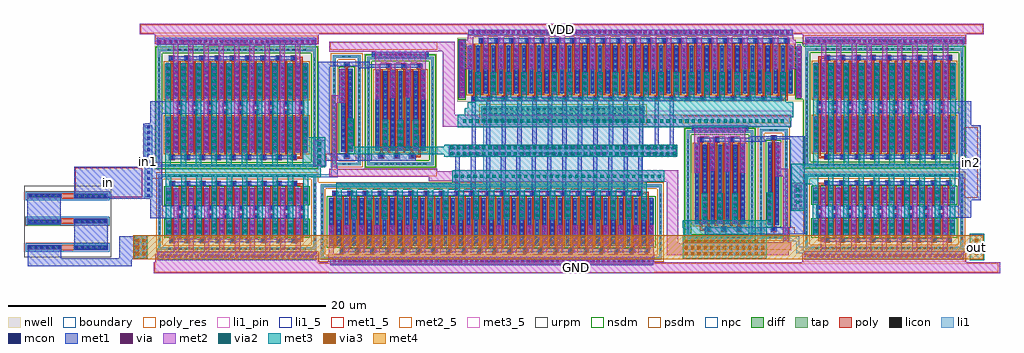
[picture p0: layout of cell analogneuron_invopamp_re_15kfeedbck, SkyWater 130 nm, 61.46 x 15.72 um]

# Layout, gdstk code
from math import pi, radians
import gdstk
lib = gdstk.Library(unit=1e-6, precision=1e-09)
def R(c, l, rs):  # rectangles x0, y0, x1, y1
    for r in rs: c.add(gdstk.rectangle(r[:2], r[2:], *l))
def A(c, l, x, y, w, h, nx, ny, dx, dy):  # array of equal rectangles
    R(c, l, [(x+i*dx, y+j*dy, x+i*dx+w, y+j*dy+h) for i in range(nx) for j in range(ny)])
nwell = (64, 20)
diff = (65, 20)
tap = (65, 44)
poly_res = (66, 13)
poly = (66, 20)
licon = (66, 44)
li1_5 = (67, 5)
li1_pin = (67, 16)
li1 = (67, 20)
mcon = (67, 44)
met1_5 = (68, 5)
met1 = (68, 20)
via = (68, 44)
met2_5 = (69, 5)
met2 = (69, 20)
via2 = (69, 44)
met3_5 = (70, 5)
met3 = (70, 20)
via3 = (70, 44)
met4 = (71, 20)
urpm = (79, 20)
nsdm = (93, 44)
psdm = (94, 20)
npc = (95, 20)
boundary = (235, 4)

sky130_fd_pr__pfet_01v8_ = lib.new_cell('sky130_fd_pr__pfet_01v8_CC7KEW')
R(sky130_fd_pr__pfet_01v8_, nwell, [(-10.405,-2,9.925,-1.81), (-10.405,-1.81,10.405,1.81), (-9.925,1.81,10.405,2)])
R(sky130_fd_pr__pfet_01v8_, diff, [(-10.225,-1.5,10.225,1.5)])
A(sky130_fd_pr__pfet_01v8_, poly, -10.005, -1.985, 0.33, 0.33, 21, 1, 0.96, 0)
A(sky130_fd_pr__pfet_01v8_, poly, -9.915, -1.655, 0.15, 3.285, 21, 1, 0.96, 0)
A(sky130_fd_pr__pfet_01v8_, poly, -9.435, -1.63, 0.15, 3.285, 21, 1, 0.96, 0)
A(sky130_fd_pr__pfet_01v8_, poly, -9.525, 1.655, 0.33, 0.33, 21, 1, 0.96, 0)
A(sky130_fd_pr__pfet_01v8_, licon, -9.925, -1.905, 0.17, 0.17, 21, 1, 0.96, 0)
A(sky130_fd_pr__pfet_01v8_, licon, -10.165, -1.275, 0.17, 0.17, 43, 8, 0.48, 0.34)
A(sky130_fd_pr__pfet_01v8_, licon, -9.445, 1.735, 0.17, 0.17, 21, 1, 0.96, 0)
A(sky130_fd_pr__pfet_01v8_, li1, -10.005, -1.905, 0.33, 0.17, 21, 1, 0.96, 0)
A(sky130_fd_pr__pfet_01v8_, li1, -10.165, -1.52, 0.17, 3.04, 43, 1, 0.48, 0)
A(sky130_fd_pr__pfet_01v8_, li1, -9.525, 1.735, 0.33, 0.17, 21, 1, 0.96, 0)
A(sky130_fd_pr__pfet_01v8_, mcon, -9.925, -1.905, 0.17, 0.17, 21, 1, 0.96, 0)
A(sky130_fd_pr__pfet_01v8_, mcon, -10.165, -1.345, 0.17, 0.17, 43, 8, 0.48, 0.36)
A(sky130_fd_pr__pfet_01v8_, mcon, -9.445, 1.735, 0.17, 0.17, 21, 1, 0.96, 0)
A(sky130_fd_pr__pfet_01v8_, met1, -9.985, -1.935, 0.29, 0.23, 21, 1, 0.96, 0)
A(sky130_fd_pr__pfet_01v8_, met1, -10.195, -1.5, 0.23, 3, 43, 1, 0.48, 0)
A(sky130_fd_pr__pfet_01v8_, met1, -9.505, 1.705, 0.29, 0.23, 21, 1, 0.96, 0)
R(sky130_fd_pr__pfet_01v8_, psdm, [(-10.35,-1.625,10.35,1.625)])
A(sky130_fd_pr__pfet_01v8_, npc, -10.025, -2.005, 0.37, 0.37, 21, 1, 0.96, 0)
A(sky130_fd_pr__pfet_01v8_, npc, -9.545, 1.635, 0.37, 0.37, 21, 1, 0.96, 0)

biaspmos = lib.new_cell('biaspmos')
R(biaspmos, nwell, [(-0.26,-7.21,1.74,-7.19), (-0.26,-7.19,21.57,-3.2), (-0.12,-3.2,21.57,-3.18)])
R(biaspmos, tap, [(1.26,-8.53,11.55,-7.51), (-0.08,-6.95,0.16,-3.41), (21.15,-6.93,21.39,-3.76), (21.15,-3.76,21.38,-3.58)])
R(biaspmos, poly, [(20.135,-7.115,20.57,-6.965), (20.42,-6.965,20.57,-6.705)])
A(biaspmos, licon, 1.39, -8.445, 0.17, 0.17, 30, 3, 0.34, 0.34)
A(biaspmos, licon, -0.05, -6.795, 0.17, 0.17, 1, 10, 0, 0.34)
A(biaspmos, licon, 21.18, -6.73, 0.17, 0.17, 1, 9, 0, 0.34)
R(biaspmos, li1_pin, [(1.38,-8.53,11.43,-7.51)])
R(biaspmos, li1, [(1.3,-8.53,11.51,-7.51), (-0.08,-6.95,0.16,-6.94), (-0.1,-6.94,0.18,-3.4), (21.15,-6.93,21.39,-3.76), (21.15,-3.76,21.38,-3.58), (0.44,-3,20.83,-2.69)])
A(biaspmos, mcon, -0.045, -6.875, 0.17, 0.17, 1, 10, 0, 0.36)
A(biaspmos, mcon, 21.185, -6.87, 0.17, 0.17, 1, 9, 0, 0.36)
A(biaspmos, mcon, 0.655, -2.925, 0.17, 0.17, 56, 1, 0.36, 0)
R(biaspmos, met1_5, [(0.67,-7.15,20.17,-6.89)])
A(biaspmos, met1, 0.9, -6.75, 0.32, 1.35, 21, 1, 0.96, 0)
A(biaspmos, met1, 0.41, -5.16, 0.34, 1.45, 22, 1, 0.96, 0)
R(biaspmos, met1, [(0.66,-7.16,20.18,-6.89), (-0.13,-7,0.21,-6.94), (21.12,-6.99,21.42,-6.94), (-0.15,-6.94,0.23,-3.4), (21.08,-6.94,21.45,-3.73), (1.13,-3.53,20.65,-3.52), (1.13,-3.52,20.66,-3.25), (-0.13,-3.4,0.21,-3.34), (1.13,-3.25,20.65,-3.21), (0.42,-3.02,20.86,-2.69)])
A(biaspmos, via, 21.19, -6.865, 0.15, 0.15, 1, 10, 0, 0.32)
A(biaspmos, via, -0.035, -6.845, 0.15, 0.15, 1, 11, 0, 0.32)
A(biaspmos, via, 0.985, -6.61, 0.15, 0.15, 21, 4, 0.96, 0.32)
A(biaspmos, via, 0.505, -4.99, 0.15, 0.15, 22, 4, 0.96, 0.32)
A(biaspmos, via, 0.645, -2.905, 0.15, 0.15, 63, 1, 0.32, 0)
R(biaspmos, met2_5, [(0.45,-3.06,20.87,-2.62)])
A(biaspmos, met2, 0.9, -6.75, 0.32, 1.4, 21, 1, 0.96, 0)
A(biaspmos, met2, 1.37, -5.16, 0.34, 2.05, 20, 1, 0.96, 0)
R(biaspmos, met2, [(-0.1,-6.99,0.18,-5.15), (21.13,-6.99,21.4,-5.15), (0.41,-5.16,0.75,-5.15), (20.57,-5.16,20.91,-5.15), (-0.1,-5.15,0.75,-3.66), (20.57,-5.15,21.4,-3.73), (20.57,-3.73,21.07,-3.32), (-0.11,-3.66,0.75,-3.32), (0.41,-3.32,0.75,-3.11), (20.57,-3.32,20.91,-3.11), (0.41,-3.11,20.91,-2.58)])
A(biaspmos, via2, 0.96, -6.55, 0.2, 0.2, 21, 3, 0.96, 0.4)
R(biaspmos, met3_5, [(0.41,-8.18,20.88,-7.79)])
A(biaspmos, met3, 0.89, -6.98, 0.34, 1.63, 9, 1, 0.96, 0)
A(biaspmos, met3, 11.45, -6.98, 0.34, 1.63, 3, 1, 1.92, 0)
A(biaspmos, met3, 16.25, -6.98, 0.34, 1.63, 5, 1, 0.96, 0)
R(biaspmos, met3, [(0.39,-8.2,20.9,-7.25), (0.89,-7.25,20.44,-6.98), (9.53,-6.98,9.87,-5.36), (10.49,-6.98,10.83,-5.35), (12.41,-6.98,12.75,-5.36), (14.33,-6.98,14.67,-5.36)])
R(biaspmos, nsdm, [(-0.205,-7.075,0.285,-3.285), (21.025,-7.055,21.515,-3.635), (21.025,-3.635,21.505,-3.455)])
R(biaspmos, psdm, [(1.135,-8.655,11.675,-7.385)])
biaspmos.add(gdstk.Reference(sky130_fd_pr__pfet_01v8_, (10.655,-5.19)))
biaspmos.add(gdstk.Label('GND', (6.405,-8.02), layer=67, texttype=16))
biaspmos.add(gdstk.Label('vh', (10.645,-7.985), layer=70, texttype=5))
biaspmos.add(gdstk.Label('gate', (10.42,-7.02), layer=68, texttype=5))
biaspmos.add(gdstk.Label('VDD', (10.66,-2.84), layer=69, texttype=5))

c_sky130_fd_pr__pfet_01v8_ = lib.new_cell('sky130_fd_pr__pfet_01v8_27F7GK')
R(c_sky130_fd_pr__pfet_01v8_, nwell, [(-2.275,-3.595,2.275,3.595)])
R(c_sky130_fd_pr__pfet_01v8_, diff, [(-1.585,-2.5,1.585,2.5)])
R(c_sky130_fd_pr__pfet_01v8_, tap, [(-2.095,-3.415,2.095,-3.245), (-2.095,-3.245,-1.925,3.245), (1.925,-3.245,2.095,3.245), (-2.095,3.245,2.095,3.415)])
A(c_sky130_fd_pr__pfet_01v8_, poly, -1.365, -2.985, 0.33, 0.33, 3, 1, 0.96, 0)
A(c_sky130_fd_pr__pfet_01v8_, poly, -1.275, -2.655, 0.15, 5.285, 3, 1, 0.96, 0)
A(c_sky130_fd_pr__pfet_01v8_, poly, -0.795, -2.63, 0.15, 5.285, 3, 1, 0.96, 0)
A(c_sky130_fd_pr__pfet_01v8_, poly, -0.885, 2.655, 0.33, 0.33, 3, 1, 0.96, 0)
A(c_sky130_fd_pr__pfet_01v8_, licon, -1.615, -3.415, 0.17, 0.17, 10, 2, 0.34, 6.66)
A(c_sky130_fd_pr__pfet_01v8_, licon, -1.285, -2.905, 0.17, 0.17, 3, 1, 0.96, 0)
A(c_sky130_fd_pr__pfet_01v8_, licon, -2.095, -2.805, 0.17, 0.17, 1, 17, 0, 0.34)
A(c_sky130_fd_pr__pfet_01v8_, licon, 1.925, -2.805, 0.17, 0.17, 1, 17, 0, 0.34)
A(c_sky130_fd_pr__pfet_01v8_, licon, -1.525, -2.295, 0.17, 0.17, 7, 14, 0.48, 0.34)
A(c_sky130_fd_pr__pfet_01v8_, licon, -0.805, 2.735, 0.17, 0.17, 3, 1, 0.96, 0)
A(c_sky130_fd_pr__pfet_01v8_, li1, -1.365, -2.905, 0.33, 0.17, 3, 1, 0.96, 0)
A(c_sky130_fd_pr__pfet_01v8_, li1, -1.525, -2.52, 0.17, 5.04, 7, 1, 0.48, 0)
A(c_sky130_fd_pr__pfet_01v8_, li1, -0.885, 2.735, 0.33, 0.17, 3, 1, 0.96, 0)
R(c_sky130_fd_pr__pfet_01v8_, li1, [(-2.095,-3.415,2.095,-3.245), (-2.095,-3.245,-1.925,3.245), (1.925,-3.245,2.095,3.245), (-2.095,3.245,2.095,3.415)])
A(c_sky130_fd_pr__pfet_01v8_, mcon, -1.285, -2.905, 0.17, 0.17, 3, 1, 0.96, 0)
A(c_sky130_fd_pr__pfet_01v8_, mcon, -1.525, -2.425, 0.17, 0.17, 7, 14, 0.48, 0.36)
A(c_sky130_fd_pr__pfet_01v8_, mcon, -0.805, 2.735, 0.17, 0.17, 3, 1, 0.96, 0)
A(c_sky130_fd_pr__pfet_01v8_, met1, -1.345, -2.935, 0.29, 0.23, 3, 1, 0.96, 0)
A(c_sky130_fd_pr__pfet_01v8_, met1, -1.555, -2.5, 0.23, 5, 7, 1, 0.48, 0)
A(c_sky130_fd_pr__pfet_01v8_, met1, -0.865, 2.705, 0.29, 0.23, 3, 1, 0.96, 0)
R(c_sky130_fd_pr__pfet_01v8_, nsdm, [(-2.22,-3.54,2.22,-3.12), (-2.22,-3.12,-1.8,3.12), (1.8,-3.12,2.22,3.12), (-2.22,3.12,2.22,3.54)])
R(c_sky130_fd_pr__pfet_01v8_, psdm, [(-1.71,-2.625,1.71,2.625)])
A(c_sky130_fd_pr__pfet_01v8_, npc, -1.385, -3.005, 0.37, 0.37, 3, 1, 0.96, 0)
A(c_sky130_fd_pr__pfet_01v8_, npc, -0.905, 2.635, 0.37, 0.37, 3, 1, 0.96, 0)
R(c_sky130_fd_pr__pfet_01v8_, boundary, [(-2.01,-3.33,2.01,3.33)])

sky130_fd_pr__nfet_01v8_ = lib.new_cell('sky130_fd_pr__nfet_01v8_LW2HKK')
R(sky130_fd_pr__nfet_01v8_, diff, [(-0.365,-2.6,0.365,2.6)])
R(sky130_fd_pr__nfet_01v8_, tap, [(-0.875,-3.47,0.875,-3.3), (-0.875,-3.3,-0.705,3.3), (0.705,-3.3,0.875,3.3), (-0.875,3.3,0.875,3.47)])
R(sky130_fd_pr__nfet_01v8_, poly, [(-0.165,-3.04,0.165,-2.71), (-0.075,-2.71,0.075,2.71), (-0.165,2.71,0.165,3.04)])
A(sky130_fd_pr__nfet_01v8_, licon, -0.875, -2.975, 0.17, 0.17, 1, 18, 0, 0.34)
A(sky130_fd_pr__nfet_01v8_, licon, 0.705, -2.975, 0.17, 0.17, 1, 18, 0, 0.34)
A(sky130_fd_pr__nfet_01v8_, licon, -0.305, -2.465, 0.17, 0.17, 1, 15, 0, 0.34)
A(sky130_fd_pr__nfet_01v8_, licon, 0.135, -2.465, 0.17, 0.17, 1, 15, 0, 0.34)
R(sky130_fd_pr__nfet_01v8_, licon, [(-0.255,-3.47,-0.085,-3.3), (0.085,-3.47,0.255,-3.3), (-0.085,-2.96,0.085,-2.79), (-0.085,2.79,0.085,2.96), (-0.255,3.3,-0.085,3.47), (0.085,3.3,0.255,3.47)])
R(sky130_fd_pr__nfet_01v8_, li1, [(-0.875,-3.47,0.875,-3.3), (-0.875,-3.3,-0.705,3.3), (0.705,-3.3,0.875,3.3), (-0.165,-2.96,0.165,-2.79), (-0.305,-2.62,-0.135,2.62), (0.135,-2.62,0.305,2.62), (-0.165,2.79,0.165,2.96), (-0.875,3.3,0.875,3.47)])
A(sky130_fd_pr__nfet_01v8_, mcon, -0.305, -2.425, 0.17, 0.17, 1, 14, 0, 0.36)
A(sky130_fd_pr__nfet_01v8_, mcon, 0.135, -2.425, 0.17, 0.17, 1, 14, 0, 0.36)
R(sky130_fd_pr__nfet_01v8_, mcon, [(-0.085,-2.96,0.085,-2.79), (-0.085,2.79,0.085,2.96)])
R(sky130_fd_pr__nfet_01v8_, met1, [(-0.145,-2.99,0.145,-2.76), (-0.335,-2.6,-0.105,2.6), (0.105,-2.6,0.335,2.6), (-0.145,2.76,0.145,2.99)])
R(sky130_fd_pr__nfet_01v8_, nsdm, [(-0.49,-2.725,0.49,2.725)])
R(sky130_fd_pr__nfet_01v8_, psdm, [(-1,-3.595,1,-3.175), (-1,-3.175,-0.58,3.175), (0.58,-3.175,1,3.175), (-1,3.175,1,3.595)])
R(sky130_fd_pr__nfet_01v8_, npc, [(-0.185,-3.06,0.185,-2.69), (-0.185,2.69,0.185,3.06)])
R(sky130_fd_pr__nfet_01v8_, boundary, [(-0.79,-3.385,0.79,3.385)])

stage2_inv = lib.new_cell('Stage2_inv')
R(stage2_inv, nwell, [(2.82,0.48,5.15,0.74), (5.31,0.71,5.46,0.79), (3.39,0.74,3.54,0.79), (4.35,0.74,4.5,0.79), (3.02,1.46,3.42,1.66), (3.06,1.66,3.42,2.83), (3.55,5.57,3.87,6.04), (4.51,5.58,4.83,6.04), (2.59,5.59,2.91,6.04), (5.47,5.6,5.79,6.35), (2.59,6.04,2.98,6.11), (3.55,6.04,3.93,6.09), (4.51,6.04,4.9,6.1), (3.55,6.09,4.02,6.24), (4.51,6.1,4.98,6.24), (2.59,6.11,3.06,6.24), (2.59,6.24,2.91,6.34), (3.55,6.24,3.87,6.32), (4.51,6.24,4.83,6.33)])
R(stage2_inv, poly, [(4.985,0.375,5.46,0.505), (5.045,0.505,5.46,0.525), (5.31,0.525,5.46,0.755)])
R(stage2_inv, li1_5, [(-0.16,-0.2,0.2,0.02)])
R(stage2_inv, li1, [(-0.19,-0.23,0.23,0.05), (2.39,6.68,5.97,7.04)])
A(stage2_inv, mcon, 2.49, 6.77, 0.17, 0.17, 10, 1, 0.36, 0)
R(stage2_inv, met1_5, [(-0.51,0.16,-0.14,0.6)])
R(stage2_inv, met1, [(-0.51,0.16,5.15,0.6), (2.82,0.6,5.15,0.61), (0.87,0.79,1.2,2.78), (3.07,0.82,3.4,2.7), (4.03,0.82,4.36,2.7), (4.99,0.82,5.32,2.69), (0.34,3.84,0.71,5.92), (5.47,4.03,5.79,5.87), (2.59,4.04,2.91,5.87), (3.55,4.14,3.87,5.87), (4.51,4.17,4.83,5.87), (3.28,6.01,5.6,6.25), (0.64,6.11,0.95,6.38), (2.41,6.68,5.94,7.02)])
A(stage2_inv, via, 0.955, 0.925, 0.15, 0.15, 1, 6, 0, 0.32)
A(stage2_inv, via, 5.075, 1.055, 0.15, 0.15, 1, 5, 0, 0.32)
A(stage2_inv, via, 3.155, 1.06, 0.15, 0.15, 1, 5, 0, 0.32)
A(stage2_inv, via, 4.115, 1.06, 0.15, 0.15, 1, 5, 0, 0.32)
A(stage2_inv, via, 0.435, 3.985, 0.15, 0.15, 1, 6, 0, 0.32)
A(stage2_inv, via, 5.555, 4.215, 0.15, 0.15, 1, 5, 0, 0.32)
A(stage2_inv, via, 2.675, 4.22, 0.15, 0.15, 1, 5, 0, 0.32)
A(stage2_inv, via, 3.635, 4.27, 0.15, 0.15, 1, 5, 0, 0.32)
A(stage2_inv, via, 4.595, 4.285, 0.15, 0.15, 1, 5, 0, 0.32)
A(stage2_inv, via, 2.83, 6.78, 0.15, 0.15, 9, 1, 0.32, 0)
R(stage2_inv, met2_5, [(-0.27,-0.82,6.47,-0.36), (-0.22,7.15,6.51,7.62)])
R(stage2_inv, met2, [(-0.29,-0.85,6.5,-0.33), (-0.125,-0.33,0.185,3.815), (0.87,0.79,1.2,2.83), (3.06,0.8,3.4,2.7), (4.02,0.8,4.36,2.75), (4.98,0.8,5.32,2.75), (3.07,2.7,3.4,2.75), (-0.125,3.815,0.705,3.84), (-0.125,3.84,0.71,4.295), (5.47,4.03,5.79,6.31), (2.59,4.04,2.91,6.31), (3.55,4.14,3.87,6.31), (4.51,4.17,4.83,6.31), (0.34,4.295,0.71,5.92), (2.59,6.31,5.79,7.13), (-0.25,7.13,6.54,7.65)])
A(stage2_inv, via2, 0.94, 0.92, 0.2, 0.2, 1, 5, 0, 0.4)
A(stage2_inv, via2, 5.05, 1.08, 0.2, 0.2, 1, 4, 0, 0.4)
A(stage2_inv, via2, 3.13, 1.085, 0.2, 0.2, 1, 4, 0, 0.4)
A(stage2_inv, via2, 4.09, 1.085, 0.2, 0.2, 1, 4, 0, 0.4)
R(stage2_inv, met3_5, [(6.04,0.61,6.52,1.04)])
R(stage2_inv, met3, [(0.87,0.58,6.46,0.59), (0.87,0.59,6.54,1.06), (0.87,1.06,1.25,1.52), (3.06,1.06,3.41,1.53), (4.02,1.06,4.36,1.53), (4.97,1.06,5.34,1.75), (0.86,1.52,1.25,2.78), (3.06,1.53,3.42,2.7), (4.01,1.53,4.36,2.7), (4.97,1.75,5.32,2.69), (4.98,2.69,5.32,2.75), (3.06,2.7,3.41,2.75), (4.02,2.7,4.36,2.75), (0.87,2.78,1.21,2.83)])
stage2_inv.add(gdstk.Reference(c_sky130_fd_pr__pfet_01v8_, (4.185,3.305)))
stage2_inv.add(gdstk.Reference(sky130_fd_pr__nfet_01v8_, (0.805,3.35)))
stage2_inv.add(gdstk.Label('in', (-0.325,0.38), layer=68, texttype=5))
stage2_inv.add(gdstk.Label('vh', (3.145,7.385), layer=69, texttype=5))
stage2_inv.add(gdstk.Label('vl', (3.1,-0.59), layer=69, texttype=5))
stage2_inv.add(gdstk.Label('nbody', (0.02,-0.09), layer=67, texttype=5))
stage2_inv.add(gdstk.Label('out', (6.28,0.825), layer=70, texttype=5))

c_sky130_fd_pr__nfet_01v8_ = lib.new_cell('sky130_fd_pr__nfet_01v8_4PXCG5')
R(c_sky130_fd_pr__nfet_01v8_, diff, [(-10.225,-1.5,10.225,1.5)])
R(c_sky130_fd_pr__nfet_01v8_, tap, [(-10.735,-2.37,10.735,-2.2), (-10.735,-2.2,-10.565,2.2), (10.565,-2.2,10.735,2.2), (-10.735,2.2,10.735,2.37)])
A(c_sky130_fd_pr__nfet_01v8_, poly, -10.005, -1.94, 0.33, 0.33, 21, 1, 0.96, 0)
A(c_sky130_fd_pr__nfet_01v8_, poly, -9.435, -1.63, 0.15, 3.24, 21, 1, 0.96, 0)
A(c_sky130_fd_pr__nfet_01v8_, poly, -9.915, -1.61, 0.15, 3.24, 21, 1, 0.96, 0)
A(c_sky130_fd_pr__nfet_01v8_, poly, -9.525, 1.61, 0.33, 0.33, 21, 1, 0.96, 0)
A(c_sky130_fd_pr__nfet_01v8_, licon, -9.925, -1.86, 0.17, 0.17, 21, 1, 0.96, 0)
A(c_sky130_fd_pr__nfet_01v8_, licon, -10.735, -1.785, 0.17, 0.17, 1, 11, 0, 0.34)
A(c_sky130_fd_pr__nfet_01v8_, licon, 10.565, -1.785, 0.17, 0.17, 1, 11, 0, 0.34)
A(c_sky130_fd_pr__nfet_01v8_, licon, -10.165, -1.275, 0.17, 0.17, 43, 8, 0.48, 0.34)
A(c_sky130_fd_pr__nfet_01v8_, licon, -9.445, 1.69, 0.17, 0.17, 21, 1, 0.96, 0)
A(c_sky130_fd_pr__nfet_01v8_, li1, -10.005, -1.86, 0.33, 0.17, 21, 1, 0.96, 0)
A(c_sky130_fd_pr__nfet_01v8_, li1, -10.165, -1.52, 0.17, 3.04, 43, 1, 0.48, 0)
A(c_sky130_fd_pr__nfet_01v8_, li1, -9.525, 1.69, 0.33, 0.17, 21, 1, 0.96, 0)
R(c_sky130_fd_pr__nfet_01v8_, li1, [(-10.735,-2.37,10.735,-2.2), (-10.735,-2.2,-10.565,2.2), (10.565,-2.2,10.735,2.2), (-10.735,2.2,10.735,2.37)])
A(c_sky130_fd_pr__nfet_01v8_, mcon, -9.925, -1.86, 0.17, 0.17, 21, 1, 0.96, 0)
A(c_sky130_fd_pr__nfet_01v8_, mcon, -10.165, -1.345, 0.17, 0.17, 43, 8, 0.48, 0.36)
A(c_sky130_fd_pr__nfet_01v8_, mcon, -9.445, 1.69, 0.17, 0.17, 21, 1, 0.96, 0)
A(c_sky130_fd_pr__nfet_01v8_, met1, -9.985, -1.89, 0.29, 0.23, 21, 1, 0.96, 0)
A(c_sky130_fd_pr__nfet_01v8_, met1, -10.195, -1.5, 0.23, 3, 43, 1, 0.48, 0)
A(c_sky130_fd_pr__nfet_01v8_, met1, -9.505, 1.66, 0.29, 0.23, 21, 1, 0.96, 0)
R(c_sky130_fd_pr__nfet_01v8_, nsdm, [(-10.35,-1.625,10.35,1.625)])
R(c_sky130_fd_pr__nfet_01v8_, psdm, [(-10.86,-2.495,10.86,-2.075), (-10.86,-2.075,-10.44,2.075), (10.44,-2.075,10.86,2.075), (-10.86,2.075,10.86,2.495)])
A(c_sky130_fd_pr__nfet_01v8_, npc, -10.025, -1.96, 0.37, 0.37, 21, 1, 0.96, 0)
A(c_sky130_fd_pr__nfet_01v8_, npc, -9.545, 1.59, 0.37, 0.37, 21, 1, 0.96, 0)
R(c_sky130_fd_pr__nfet_01v8_, boundary, [(-10.65,-2.285,10.65,2.285)])

biasnmos = lib.new_cell('biasnmos')
R(biasnmos, poly, [(20.15,3.115,20.3,3.355), (19.835,3.355,20.3,3.375), (19.815,3.375,20.3,3.505)])
R(biasnmos, li1, [(0.25,-1.08,20.57,-0.59)])
A(biasnmos, mcon, 0.425, -0.92, 0.17, 0.17, 56, 1, 0.36, 0)
R(biasnmos, met1_5, [(0.4,3.28,19.88,3.52)])
A(biasnmos, met1, 0.15, 0.12, 0.32, 1.3, 22, 1, 0.96, 0)
A(biasnmos, met1, 0.63, 1.82, 0.32, 1.28, 21, 1, 0.96, 0)
A(biasnmos, met1, 0.63, 3.1, 0.31, 0.01, 21, 1, 0.96, 0)
R(biasnmos, met1, [(0.25,-1.1,20.57,-0.58), (0.86,-0.3,20.38,-0.04), (0.38,3.27,19.9,3.53)])
A(biasnmos, via, 0.42, -0.915, 0.15, 0.15, 63, 1, 0.32, 0)
A(biasnmos, via, 0.235, 0.23, 0.15, 0.15, 22, 4, 0.96, 0.32)
A(biasnmos, via, 0.715, 1.89, 0.15, 0.15, 21, 4, 0.96, 0.32)
R(biasnmos, met2_5, [(0.14,-1.59,20.62,-1.03)])
A(biasnmos, met2, 0.15, -0.38, 0.32, 1.8, 22, 1, 0.96, 0)
A(biasnmos, met2, 0.63, 1.77, 0.32, 1.33, 21, 1, 0.96, 0)
A(biasnmos, met2, 0.63, 3.1, 0.31, 0.01, 21, 1, 0.96, 0)
R(biasnmos, met2, [(0.12,-1.6,20.64,-1.42), (0.12,-1.42,20.65,-0.38)])
A(biasnmos, via2, 0.69, 1.94, 0.2, 0.2, 21, 3, 0.96, 0.4)
R(biasnmos, met3_5, [(0.62,3.74,20.12,4.05)])
A(biasnmos, met3, 0.62, 1.77, 0.34, 1.87, 21, 1, 0.96, 0)
R(biasnmos, met3, [(0.62,3.64,20.16,4.07)])
biasnmos.add(gdstk.Reference(c_sky130_fd_pr__nfet_01v8_, (10.385,1.615), x_reflection=True))
biasnmos.add(gdstk.Label('GND', (10.38,-1.31), layer=69, texttype=5))
biasnmos.add(gdstk.Label('gate', (10.14,3.4), layer=68, texttype=5))
biasnmos.add(gdstk.Label('vl', (10.37,3.895), layer=70, texttype=5))

c_sky130_fd_pr__nfet_01v8__ = lib.new_cell('sky130_fd_pr__nfet_01v8_BBTBMZ')
R(c_sky130_fd_pr__nfet_01v8__, diff, [(-4.465,-1.505,4.465,-0.545), (-4.465,0.545,4.465,1.505)])
R(c_sky130_fd_pr__nfet_01v8__, tap, [(-4.975,-2.375,4.975,-2.205), (-4.975,-2.205,-4.805,2.205), (4.805,-2.205,4.975,2.205), (-4.975,2.205,4.975,2.375)])
A(c_sky130_fd_pr__nfet_01v8__, poly, -4.245, -1.945, 0.33, 0.33, 9, 2, 0.96, 3.56)
A(c_sky130_fd_pr__nfet_01v8__, poly, -3.675, -1.635, 0.15, 1.2, 9, 2, 0.96, 2.07)
A(c_sky130_fd_pr__nfet_01v8__, poly, -4.155, -1.615, 0.15, 1.2, 9, 2, 0.96, 2.03)
A(c_sky130_fd_pr__nfet_01v8__, poly, -3.765, -0.435, 0.33, 0.33, 9, 2, 0.96, 0.54)
A(c_sky130_fd_pr__nfet_01v8__, licon, -4.335, -2.375, 0.17, 0.17, 26, 2, 0.34, 4.58)
A(c_sky130_fd_pr__nfet_01v8__, licon, -4.165, -1.865, 0.17, 0.17, 9, 2, 0.96, 3.56)
A(c_sky130_fd_pr__nfet_01v8__, licon, -4.975, -1.785, 0.17, 0.17, 1, 11, 0, 0.34)
A(c_sky130_fd_pr__nfet_01v8__, licon, 4.805, -1.785, 0.17, 0.17, 1, 11, 0, 0.34)
A(c_sky130_fd_pr__nfet_01v8__, licon, -4.405, -1.28, 0.17, 0.17, 19, 2, 0.48, 0.34)
A(c_sky130_fd_pr__nfet_01v8__, licon, -3.685, -0.355, 0.17, 0.17, 9, 2, 0.96, 0.54)
A(c_sky130_fd_pr__nfet_01v8__, licon, -4.405, 0.77, 0.17, 0.17, 19, 2, 0.48, 0.34)
A(c_sky130_fd_pr__nfet_01v8__, li1, -4.245, -1.865, 0.33, 0.17, 9, 2, 0.96, 3.56)
A(c_sky130_fd_pr__nfet_01v8__, li1, -4.405, -1.525, 0.17, 1, 19, 2, 0.48, 2.05)
A(c_sky130_fd_pr__nfet_01v8__, li1, -3.765, -0.355, 0.33, 0.17, 9, 2, 0.96, 0.54)
R(c_sky130_fd_pr__nfet_01v8__, li1, [(-4.975,-2.375,4.975,-2.205), (-4.975,-2.205,-4.805,2.205), (4.805,-2.205,4.975,2.205), (-4.975,2.205,4.975,2.375)])
A(c_sky130_fd_pr__nfet_01v8__, mcon, -4.165, -1.865, 0.17, 0.17, 9, 2, 0.96, 3.56)
A(c_sky130_fd_pr__nfet_01v8__, mcon, -4.405, -1.29, 0.17, 0.17, 19, 2, 0.48, 0.36)
A(c_sky130_fd_pr__nfet_01v8__, mcon, -3.685, -0.355, 0.17, 0.17, 9, 2, 0.96, 0.54)
A(c_sky130_fd_pr__nfet_01v8__, mcon, -4.405, 0.76, 0.17, 0.17, 19, 2, 0.48, 0.36)
A(c_sky130_fd_pr__nfet_01v8__, met1, -4.225, -1.895, 0.29, 0.23, 9, 2, 0.96, 3.56)
A(c_sky130_fd_pr__nfet_01v8__, met1, -4.435, -1.505, 0.23, 0.96, 19, 2, 0.48, 2.05)
A(c_sky130_fd_pr__nfet_01v8__, met1, -3.745, -0.385, 0.29, 0.23, 9, 2, 0.96, 0.54)
R(c_sky130_fd_pr__nfet_01v8__, nsdm, [(-4.59,-1.63,4.59,-0.42), (-4.59,0.42,4.59,1.63)])
R(c_sky130_fd_pr__nfet_01v8__, psdm, [(-5.1,-2.5,5.1,-2.08), (-5.1,-2.08,-4.68,2.08), (4.68,-2.08,5.1,2.08), (-5.1,2.08,5.1,2.5)])
A(c_sky130_fd_pr__nfet_01v8__, npc, -4.265, -1.965, 0.37, 0.37, 9, 2, 0.96, 3.56)
A(c_sky130_fd_pr__nfet_01v8__, npc, -3.785, -0.455, 0.37, 0.91, 9, 1, 0.96, 0)
R(c_sky130_fd_pr__nfet_01v8__, boundary, [(-4.89,-2.29,4.89,2.29)])

c_sky130_fd_pr__pfet_01v8__ = lib.new_cell('sky130_fd_pr__pfet_01v8_VNEHM9')
R(c_sky130_fd_pr__pfet_01v8__, nwell, [(-5.155,-3.895,5.155,3.895)])
R(c_sky130_fd_pr__pfet_01v8__, diff, [(-4.465,-2.8,4.465,-0.59), (-4.465,0.59,4.465,2.8)])
R(c_sky130_fd_pr__pfet_01v8__, tap, [(-4.975,-3.715,4.975,-3.545), (-4.975,-3.545,-4.805,3.545), (4.805,-3.545,4.975,3.545), (-4.975,3.545,4.975,3.715)])
A(c_sky130_fd_pr__pfet_01v8__, poly, -4.245, -3.285, 0.33, 0.33, 9, 2, 0.96, 6.24)
A(c_sky130_fd_pr__pfet_01v8__, poly, -4.155, -2.955, 0.15, 2.495, 9, 2, 0.96, 3.415)
A(c_sky130_fd_pr__pfet_01v8__, poly, -3.675, -2.93, 0.15, 2.495, 9, 2, 0.96, 3.365)
A(c_sky130_fd_pr__pfet_01v8__, poly, -3.765, -0.435, 0.33, 0.33, 9, 2, 0.96, 0.54)
A(c_sky130_fd_pr__pfet_01v8__, licon, -4.335, -3.715, 0.17, 0.17, 26, 2, 0.34, 7.26)
A(c_sky130_fd_pr__pfet_01v8__, licon, -4.165, -3.205, 0.17, 0.17, 9, 2, 0.96, 6.24)
A(c_sky130_fd_pr__pfet_01v8__, licon, -4.975, -3.145, 0.17, 0.17, 1, 19, 0, 0.34)
A(c_sky130_fd_pr__pfet_01v8__, licon, 4.805, -3.145, 0.17, 0.17, 1, 19, 0, 0.34)
A(c_sky130_fd_pr__pfet_01v8__, licon, -4.405, -2.63, 0.17, 0.17, 19, 6, 0.48, 0.34)
A(c_sky130_fd_pr__pfet_01v8__, licon, -3.685, -0.355, 0.17, 0.17, 9, 2, 0.96, 0.54)
A(c_sky130_fd_pr__pfet_01v8__, licon, -4.405, 0.76, 0.17, 0.17, 19, 6, 0.48, 0.34)
A(c_sky130_fd_pr__pfet_01v8__, li1, -4.245, -3.205, 0.33, 0.17, 9, 2, 0.96, 6.24)
A(c_sky130_fd_pr__pfet_01v8__, li1, -4.405, -2.82, 0.17, 2.25, 19, 2, 0.48, 3.39)
A(c_sky130_fd_pr__pfet_01v8__, li1, -3.765, -0.355, 0.33, 0.17, 9, 2, 0.96, 0.54)
R(c_sky130_fd_pr__pfet_01v8__, li1, [(-4.975,-3.715,4.975,-3.545), (-4.975,-3.545,-4.805,3.545), (4.805,-3.545,4.975,3.545), (-4.975,3.545,4.975,3.715)])
A(c_sky130_fd_pr__pfet_01v8__, mcon, -4.165, -3.205, 0.17, 0.17, 9, 2, 0.96, 6.24)
A(c_sky130_fd_pr__pfet_01v8__, mcon, -4.405, -2.68, 0.17, 0.17, 19, 6, 0.48, 0.36)
A(c_sky130_fd_pr__pfet_01v8__, mcon, -3.685, -0.355, 0.17, 0.17, 9, 2, 0.96, 0.54)
A(c_sky130_fd_pr__pfet_01v8__, mcon, -4.405, 0.71, 0.17, 0.17, 19, 6, 0.48, 0.36)
A(c_sky130_fd_pr__pfet_01v8__, met1, -4.225, -3.235, 0.29, 0.23, 9, 2, 0.96, 6.24)
A(c_sky130_fd_pr__pfet_01v8__, met1, -4.435, -2.8, 0.23, 2.21, 19, 2, 0.48, 3.39)
A(c_sky130_fd_pr__pfet_01v8__, met1, -3.745, -0.385, 0.29, 0.23, 9, 2, 0.96, 0.54)
R(c_sky130_fd_pr__pfet_01v8__, nsdm, [(-5.1,-3.84,5.1,-3.42), (-5.1,-3.42,-4.68,3.42), (4.68,-3.42,5.1,3.42), (-5.1,3.42,5.1,3.84)])
R(c_sky130_fd_pr__pfet_01v8__, psdm, [(-4.59,-2.925,4.59,-0.465), (-4.59,0.465,4.59,2.925)])
A(c_sky130_fd_pr__pfet_01v8__, npc, -4.265, -3.305, 0.37, 0.37, 9, 2, 0.96, 6.24)
A(c_sky130_fd_pr__pfet_01v8__, npc, -3.785, -0.455, 0.37, 0.91, 9, 1, 0.96, 0)
R(c_sky130_fd_pr__pfet_01v8__, boundary, [(-4.89,-3.63,4.89,3.63)])

stage1_inv = lib.new_cell('Stage1_inv')
A(stage1_inv, nwell, 0.62, 0.57, 0.32, 2.19, 9, 2, 0.96, 3.39)
A(stage1_inv, diff, 0.62, 0.57, 0.32, 2.19, 9, 2, 0.96, 3.39)
R(stage1_inv, poly, [(8.345,-5.085,8.8,-4.935), (8.65,-4.935,8.8,-4.71), (8.65,-1.7,8.8,-1.545), (8.375,-1.545,8.8,-1.525), (8.325,-1.525,8.8,-1.395), (8.315,0.145,8.78,0.275), (8.365,0.275,8.78,0.295), (8.63,0.295,8.78,0.565), (8.63,6.165,8.78,6.425), (8.325,6.425,8.78,6.445), (8.295,6.445,8.78,6.575)])
A(stage1_inv, licon, 0.7, 0.735, 0.17, 0.17, 9, 6, 0.96, 0.34)
A(stage1_inv, licon, 0.7, 4.125, 0.17, 0.17, 9, 6, 0.96, 0.34)
A(stage1_inv, li1, 0.7, 0.57, 0.17, 2.19, 9, 2, 0.96, 3.39)
R(stage1_inv, li1, [(-0.32,-6.21,9.63,-6), (-0.33,-6,9.63,-5.79), (-0.37,-5.79,9.63,-5.47), (-0.35,6.94,9.6,7.31), (-0.36,7.31,9.6,7.69)])
A(stage1_inv, mcon, -0.125, -6.075, 0.17, 0.17, 27, 1, 0.36, 0)
A(stage1_inv, mcon, 0.7, 0.685, 0.17, 0.17, 9, 6, 0.96, 0.36)
A(stage1_inv, mcon, 0.7, 4.075, 0.17, 0.17, 9, 6, 0.96, 0.36)
A(stage1_inv, mcon, -0.335, 7.44, 0.17, 0.17, 28, 1, 0.36, 0)
R(stage1_inv, met1_5, [(-0.8,-1.1,-0.08,-0.08)])
A(stage1_inv, met1, 0.17, -4.7, 0.32, 0.94, 10, 2, 0.96, 2.04)
A(stage1_inv, met1, 0.65, -4.7, 0.32, 0.93, 9, 2, 0.96, 2.05)
A(stage1_inv, met1, 0.15, 0.57, 0.32, 2.17, 10, 2, 0.96, 3.39)
A(stage1_inv, met1, 0.62, 0.57, 0.32, 2.19, 9, 2, 0.96, 3.39)
R(stage1_inv, met1, [(-0.37,-6.23,9.63,-6.17), (-0.38,-6.17,9.63,-5.74), (-0.38,-5.74,9.62,-5.71), (0.4,-5.11,8.65,-4.87), (-0.815,-3.59,8.88,-3.57), (-0.83,-3.57,8.88,-2.82), (-0.83,-2.82,-0.05,2.98), (0.41,-1.54,8.4,-1.3), (0.39,0.13,8.38,0.37), (-0.83,2.98,8.86,3.76), (0.39,6.37,8.38,6.61), (-0.42,7.32,9.62,7.77)])
A(stage1_inv, via, -0.23, -6.045, 0.15, 0.15, 31, 1, 0.32, 0)
A(stage1_inv, via, 0.735, -4.47, 0.15, 0.15, 9, 2, 0.96, 0.32)
A(stage1_inv, via, 0.255, -4.465, 0.15, 0.15, 10, 2, 0.96, 0.32)
A(stage1_inv, via, 0.255, -2.425, 0.15, 0.15, 10, 2, 0.96, 0.32)
A(stage1_inv, via, 0.735, -2.42, 0.15, 0.15, 9, 2, 0.96, 0.32)
A(stage1_inv, via, 0.235, 0.78, 0.15, 0.15, 10, 6, 0.96, 0.32)
A(stage1_inv, via, 0.705, 0.79, 0.15, 0.15, 9, 6, 0.96, 0.32)
A(stage1_inv, via, 0.235, 4.17, 0.15, 0.15, 10, 6, 0.96, 0.32)
A(stage1_inv, via, 0.705, 4.18, 0.15, 0.15, 9, 6, 0.96, 0.32)
A(stage1_inv, via, -0.275, 7.475, 0.15, 0.15, 31, 1, 0.32, 0)
R(stage1_inv, met2_5, [(-0.47,-6.39,9.76,-5.88), (-0.5,7.4,9.73,7.91)])
A(stage1_inv, met2, 0.65, -5.71, 0.32, 3.99, 9, 1, 0.96, 0)
A(stage1_inv, met2, 0.17, -4.71, 0.33, 0.96, 10, 2, 0.96, 2.04)
A(stage1_inv, met2, 0.15, 0.57, 0.32, 2.17, 10, 2, 0.96, 3.39)
A(stage1_inv, met2, 2.54, 0.57, 0.32, 6.74, 4, 1, 0.96, 0)
A(stage1_inv, met2, 6.38, 0.57, 0.32, 6.78, 3, 1, 0.96, 0)
R(stage1_inv, met2, [(-0.52,-6.46,9.79,-5.82), (-0.42,-5.82,9.7,-5.71), (0.62,0.57,0.94,7.35), (1.58,0.57,1.9,7.35), (2.54,7.31,6.21,7.35), (-0.53,7.35,9.78,7.99)])
A(stage1_inv, via2, 0.23, -4.53, 0.2, 0.2, 10, 2, 0.96, 0.4)
A(stage1_inv, via2, 0.23, -2.49, 0.2, 0.2, 10, 2, 0.96, 0.4)
A(stage1_inv, via2, 0.21, 0.75, 0.2, 0.2, 10, 5, 0.96, 0.4)
A(stage1_inv, via2, 0.21, 4.14, 0.2, 0.2, 10, 5, 0.96, 0.4)
R(stage1_inv, met3_5, [(9.67,-1,9.93,-0.18)])
A(stage1_inv, met3, 0.16, -4.71, 0.34, 3.71, 10, 1, 0.96, 0)
A(stage1_inv, met3, 0.14, -0.18, 0.34, 6.32, 10, 1, 0.96, 0)
R(stage1_inv, met3, [(0.14,-1,9.93,-0.18)])
A(stage1_inv, psdm, 0.495, 0.445, 0.57, 2.44, 9, 2, 0.96, 3.39)
stage1_inv.add(gdstk.Reference(c_sky130_fd_pr__nfet_01v8__, (4.645,-3.205)))
stage1_inv.add(gdstk.Reference(c_sky130_fd_pr__pfet_01v8__, (4.625,3.365)))
stage1_inv.add(gdstk.Label('GND', (4.645,-6.135), layer=69, texttype=5))
stage1_inv.add(gdstk.Label('out', (9.8,-0.59), layer=70, texttype=5))
stage1_inv.add(gdstk.Label('VDD', (4.615,7.655), layer=69, texttype=5))
stage1_inv.add(gdstk.Label('in', (-0.44,-0.59), layer=68, texttype=5))

sky130_fd_pr__res_xhigh_ = lib.new_cell('sky130_fd_pr__res_xhigh_po_0p35_NZHUVC')
R(sky130_fd_pr__res_xhigh_, poly_res, [(-0.175,-0.44,0.175,0.44)])
R(sky130_fd_pr__res_xhigh_, poly, [(-0.175,-2.54,0.175,2.54)])
R(sky130_fd_pr__res_xhigh_, licon, [(-0.095,-2.46,0.095,-0.46), (-0.095,0.46,0.095,2.46)])
R(sky130_fd_pr__res_xhigh_, li1, [(-0.175,-2.54,0.175,-0.38), (-0.175,0.38,0.175,2.54)])
A(sky130_fd_pr__res_xhigh_, mcon, -0.085, -2.445, 0.17, 0.17, 1, 6, 0, 0.36)
A(sky130_fd_pr__res_xhigh_, mcon, -0.085, 0.47, 0.17, 0.17, 1, 6, 0, 0.36)
R(sky130_fd_pr__res_xhigh_, met1, [(-0.125,-2.51,0.125,-0.405), (-0.125,0.405,0.125,2.51)])
R(sky130_fd_pr__res_xhigh_, urpm, [(-0.635,-2.74,0.635,2.74)])
R(sky130_fd_pr__res_xhigh_, psdm, [(-0.285,-2.65,0.285,2.65)])
R(sky130_fd_pr__res_xhigh_, npc, [(-0.27,-2.635,0.27,2.635)])

analogneuron_invopamp_re = lib.new_cell('analogneuron_invopamp_re_15kfeedbck')
R(analogneuron_invopamp_re, li1, [(41.67,0.09,42.65,0.51), (41.675,0.51,41.845,0.865), (40.825,0.865,41.845,1), (40.745,1,41.845,1.17), (0.63,3.63,1.12,8.15), (21.96,4.39,32,8.84), (10.95,4.89,12.805,5.06), (12.395,5.06,12.805,5.625), (12.395,5.625,12.565,5.645), (12.635,5.625,12.805,5.655), (12.79,5.69,12.825,5.8)])
A(analogneuron_invopamp_re, mcon, 0.79, 3.645, 0.17, 0.17, 1, 13, 0, 0.36)
R(analogneuron_invopamp_re, met1_5, [(52.24,3.58,53.11,8.02), (-3.74,3.61,0.5,5.48), (0.63,3.64,1.11,8.16)])
A(analogneuron_invopamp_re, met1, 25.02, 3.72, 0.26, 0.15, 4, 1, 0.96, 0)
A(analogneuron_invopamp_re, met1, 25.02, 4.03, 0.26, 2.18, 4, 1, 0.96, 0)
A(analogneuron_invopamp_re, met1, 26.935, 6.89, 0.27, 2.76, 4, 1, 0.98, 0)
R(analogneuron_invopamp_re, met1, [(-6.73,-0.71,-0.16,-0.27), (-6.73,-0.27,0.39,-0.23), (-6.73,-0.23,-4.62,0.59), (-0.97,-0.23,0.83,1.17), (-3.81,0.3,-1.7,2.27), (-0.05,1.17,0.83,1.19), (41.12,1.28,42.22,1.72), (41.29,1.72,42.22,2), (-6.77,1.91,-4.66,3.88), (41.3,2,42.22,4.68), (52.06,3.43,53.28,8.15), (-1.53,3.53,1.05,3.55), (-3.81,3.55,1.76,5.54), (20.21,3.72,20.47,3.87), (21.17,3.72,21.43,3.87), (22.15,3.72,22.41,3.87), (23.07,3.72,23.33,3.795), (24.03,3.72,24.29,3.87), (28.88,3.72,29.14,3.87), (29.82,3.72,30.08,3.87), (30.8,3.72,31.06,3.87), (31.72,3.72,31.98,3.87), (23.07,3.795,23.385,3.87), (20.21,3.87,31.98,4.03), (20.21,4.03,20.47,6.18), (21.17,4.03,21.5,6.21), (22.145,4.03,22.415,6.21), (23.07,4.03,23.385,6.21), (24.03,4.03,24.285,6.02), (28.88,4.03,29.14,6.21), (29.82,4.03,30.08,6.21), (30.8,4.03,31.06,6.21), (31.72,4.03,31.98,6.21), (41.3,4.68,42.215,7.265), (0.54,5.54,1.35,8.16), (11.25,5.57,12.06,5.91), (11.25,5.91,12.49,6.35), (24.03,6.02,24.29,6.21), (19.78,6.18,20.47,6.21), (19.78,6.21,34.17,6.89), (11.25,6.35,12.28,7.25), (19.78,6.89,20.22,6.92), (21.23,6.89,21.5,9.65), (22.145,6.89,22.415,9.65), (23.115,6.89,23.385,9.65), (24.115,6.89,24.385,9.65), (25.055,6.89,25.325,9.65), (26.035,6.89,26.305,9.65), (30.775,6.89,31.045,9.65), (31.775,6.89,32.045,9.65), (32.755,6.89,33.025,9.65), (33.695,6.89,33.965,9.65), (36.95,7.13,39.74,7.265), (11.58,7.25,12.28,11.87), (36.95,7.265,42.215,7.37), (38.77,7.37,42.215,7.455), (38.77,7.455,39.74,7.46), (41.3,7.455,42.215,7.465), (0.54,8.16,1.18,8.25), (0.67,8.25,1.18,8.27), (21.23,9.65,33.965,9.715), (21.23,9.715,21.5,9.96), (22.145,9.715,22.415,9.945), (23.115,9.715,23.385,9.905), (24.115,9.715,24.385,9.955), (25.055,9.715,25.325,9.845), (26.035,9.715,26.305,9.815), (26.935,9.715,27.205,9.925), (27.915,9.715,28.185,9.875), (28.895,9.715,29.165,9.825), (29.875,9.715,30.145,9.835), (30.775,9.715,31.045,9.875), (31.3,9.715,33.05,9.85), (33.695,9.715,33.965,9.865), (31.775,9.85,32.045,9.855), (32.755,9.85,33.025,9.905), (14.08,11.75,14.79,11.76), (14.08,11.76,16.47,11.87), (11.58,11.87,16.47,12), (11.58,12,14.8,12.15)])
A(analogneuron_invopamp_re, via, 0.155, -0.075, 0.15, 0.15, 1, 4, 0, 0.32)
A(analogneuron_invopamp_re, via, 0.475, -0.075, 0.15, 0.15, 1, 4, 0, 0.32)
A(analogneuron_invopamp_re, via, 41.545, 2.985, 0.15, 0.15, 1, 5, 0, 0.32)
A(analogneuron_invopamp_re, via, 41.865, 2.985, 0.15, 0.15, 1, 5, 0, 0.32)
A(analogneuron_invopamp_re, via, 11.57, 5.855, 0.15, 0.15, 1, 4, 0, 0.32)
A(analogneuron_invopamp_re, via, 20.025, 6.315, 0.15, 0.15, 44, 2, 0.32, 0.32)
R(analogneuron_invopamp_re, met2_5, [(1.27,-1.11,54.4,-0.55), (0.39,13.95,53.4,14.48)])
R(analogneuron_invopamp_re, met2, [(1.2,-1.17,54.5,-0.46), (0,-0.28,0.78,1.24), (33.51,-0.04,34.44,-0.025), (33.51,-0.025,41.2,0.255), (33.505,0.255,41.2,0.705), (33.505,0.705,34.34,0.73), (33.505,0.73,34.25,0.985), (33.505,0.985,34.235,4.59), (41.38,2.85,42.17,4.53), (20.03,4.59,34.24,4.63), (18.54,4.63,34.24,5.27), (18.54,5.27,19.06,5.42), (20.03,5.27,34.24,5.32), (11.29,5.6,12,7.22), (19.81,6.16,34.12,6.94), (19.405,8.045,20.155,8.055), (19.405,8.055,20.715,8.06), (19.405,8.06,41.34,8.8), (19.405,8.8,20.16,8.985), (20.78,8.8,41.34,8.81), (19.4,8.985,20.16,9.735), (19.4,9.735,20.15,12.8), (12.275,12.795,19.11,12.8), (12.275,12.8,20.15,13.4), (1.27,13.33,11.59,13.9), (0.33,13.9,53.48,14.55)])
A(analogneuron_invopamp_re, via2, 0.09, -0.02, 0.2, 0.2, 1, 3, 0, 0.4)
A(analogneuron_invopamp_re, via2, 0.49, -0.02, 0.2, 0.2, 1, 3, 0, 0.4)
A(analogneuron_invopamp_re, via2, 41.665, 3.205, 0.2, 0.2, 1, 3, 0, 0.4)
A(analogneuron_invopamp_re, via2, 20.14, 4.85, 0.2, 0.2, 33, 1, 0.4, 0)
A(analogneuron_invopamp_re, via2, 11.55, 5.705, 0.2, 0.2, 1, 4, 0, 0.4)
A(analogneuron_invopamp_re, via2, 19.88, 6.25, 0.2, 0.2, 36, 2, 0.4, 0.4)
A(analogneuron_invopamp_re, via2, 20.69, 8.32, 0.2, 0.2, 51, 1, 0.4, 0)
R(analogneuron_invopamp_re, met3_5, [(52.63,-0.31,53.47,1.27)])
R(analogneuron_invopamp_re, met3, [(52.59,-0.36,53.51,1.31), (-0.05,-0.255,0.83,1.215), (34.51,-0.24,39.79,-0.15), (34.51,-0.15,39.8,1.15), (34.56,1.15,39.8,1.93), (41.36,2.78,42.18,4.44), (20.02,4.3,32.24,4.4), (20,4.4,32.24,4.59), (41.36,4.44,42.95,5.26), (20,4.59,33.36,5.28), (41.36,5.26,42.9,5.74), (20.03,5.28,33.36,5.32), (10.91,5.51,12,7.4), (19.51,6.18,20.22,6.185), (19.51,6.185,34.17,6.33), (18.54,6.33,34.17,6.81), (19.51,6.81,34.17,6.915), (19.51,6.915,20.22,6.92), (20.34,8.04,41.32,8.44), (20.34,8.44,41.37,8.8), (20.81,8.8,41.37,9.23)])
A(analogneuron_invopamp_re, via3, 34.65, -0.045, 0.2, 0.2, 13, 3, 0.4, 0.4)
A(analogneuron_invopamp_re, via3, 0.09, -0.02, 0.2, 0.2, 1, 3, 0, 0.4)
A(analogneuron_invopamp_re, via3, 0.49, -0.02, 0.2, 0.2, 1, 3, 0, 0.4)
A(analogneuron_invopamp_re, via3, 52.92, 0.005, 0.2, 0.2, 1, 3, 0, 0.4)
R(analogneuron_invopamp_re, met4, [(-0.075,-0.27,53.43,1.22)])
R(analogneuron_invopamp_re, urpm, [(-6.94,1.1,-1.48,1.48), (-6.95,2.75,-1.48,3.07)])
R(analogneuron_invopamp_re, nsdm, [(42.095,9.795,42.125,13.125)])
R(analogneuron_invopamp_re, psdm, [(11.555,0.185,11.605,4.56)])
analogneuron_invopamp_re.add(gdstk.Reference(biaspmos, (20.58,16.85)))
analogneuron_invopamp_re.add(gdstk.Reference(stage2_inv, (12.56,5.75)))
analogneuron_invopamp_re.add(gdstk.Reference(stage2_inv, (41.05,1.12), rotation=pi, x_reflection=True))
analogneuron_invopamp_re.add(gdstk.Reference(biasnmos, (12.08,0.45)))
analogneuron_invopamp_re.add(gdstk.Reference(stage1_inv, (51.85,5.92), rotation=pi, x_reflection=True))
analogneuron_invopamp_re.add(gdstk.Reference(stage1_inv, (1.81,5.89)))
analogneuron_invopamp_re.add(gdstk.Reference(sky130_fd_pr__res_xhigh_, (-4.21,3.705), rotation=3*pi/2))
analogneuron_invopamp_re.add(gdstk.Reference(sky130_fd_pr__res_xhigh_, (-4.22,2.115), rotation=3*pi/2))
analogneuron_invopamp_re.add(gdstk.Reference(sky130_fd_pr__res_xhigh_, (-4.2,0.465), rotation=3*pi/2))
analogneuron_invopamp_re.add(gdstk.Label('VDD', (26.895,14.215), layer=69, texttype=5))
analogneuron_invopamp_re.add(gdstk.Label('in2', (52.675,5.8), layer=68, texttype=5))
analogneuron_invopamp_re.add(gdstk.Label('in1', (0.87,5.9), layer=68, texttype=5))
analogneuron_invopamp_re.add(gdstk.Label('in', (-1.62,4.545), layer=68, texttype=5))
analogneuron_invopamp_re.add(gdstk.Label('out', (53.05,0.48), layer=70, texttype=5))
analogneuron_invopamp_re.add(gdstk.Label('GND', (27.835,-0.83), layer=69, texttype=5))

lib.write_gds('analogneuron_invopamp_re_15kfeedbck.gds')
